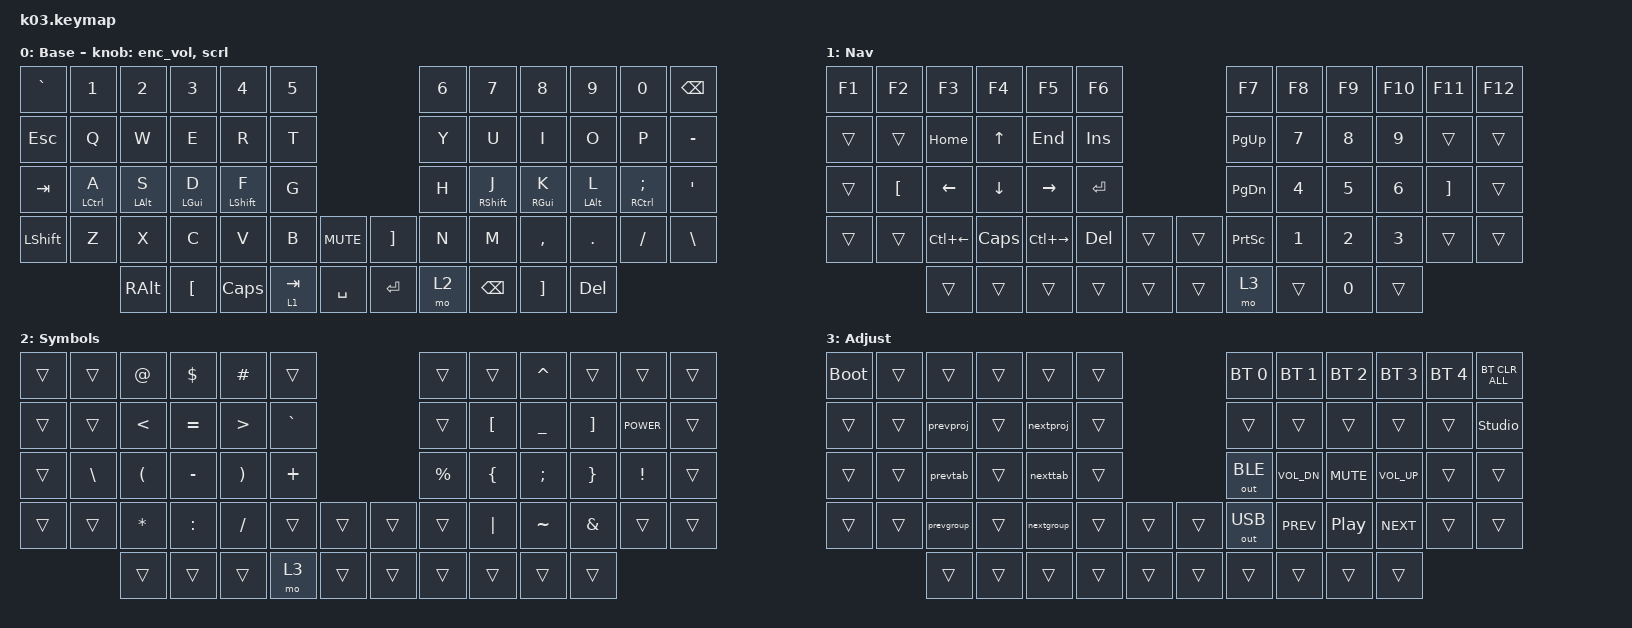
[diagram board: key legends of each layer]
#include "keys_ru.h"
#include <behaviors.dtsi>
#include <dt-bindings/zmk/bt.h>
#include <dt-bindings/zmk/keys.h>
#include <dt-bindings/zmk/outputs.h>

&mt {
    flavor = "balanced";
    quick-tap-ms = <200>;
    require-prior-idle-ms = <125>;
};

/ {
    behaviors {
        enc_vol: enc_vol {
            compatible = "zmk,behavior-sensor-rotate";
            label = "ENC_VOL";
            #sensor-binding-cells = <0>;
            bindings = <&kp C_VOL_UP>, <&kp C_VOL_DN>;
        };

        scrl: scrl {
            compatible = "zmk,behavior-sensor-rotate";
            label = "SCRL";
            #sensor-binding-cells = <0>;
            bindings = <&kp PG_UP>, <&kp PAGE_DOWN>;
        };

        windows: windows {
            compatible = "zmk,behavior-sensor-rotate";
            label = "WINDOWS";
            #sensor-binding-cells = <0>;
            bindings = <&kp TAB>, <&kp LEFT_SHIFT>;
        };

        tabs: tabs {
            compatible = "zmk,behavior-sensor-rotate";
            label = "TABS";
            #sensor-binding-cells = <0>;
            bindings = <&nexttab>, <&prevtab>;
        };

        groups: groups {
            compatible = "zmk,behavior-sensor-rotate";
            label = "GROUPS";
            #sensor-binding-cells = <0>;
            bindings = <&nextgroup>, <&prevgroup>;
        };
    };

    macros {
        nexttab: nexttab {
            compatible = "zmk,behavior-macro";
            #binding-cells = <0>;
            bindings =
                <&macro_press>,
                <&kp RCTRL>,
                <&macro_tap>,
                <&kp TAB>,
                <&macro_release>,
                <&kp RCTRL>;

            label = "NEXTTAB";
            wait-ms = <10>;
        };

        prevtab: prevtab {
            compatible = "zmk,behavior-macro";
            #binding-cells = <0>;
            bindings =
                <&macro_press>,
                <&kp RCTRL &kp LEFT_SHIFT>,
                <&macro_tap>,
                <&kp TAB>,
                <&macro_release>,
                <&kp RCTRL &kp LEFT_SHIFT>;

            label = "PREVTAB";
            wait-ms = <15>;
        };

        nextgroup: nextgroup {
            compatible = "zmk,behavior-macro";
            #binding-cells = <0>;
            bindings =
                <&macro_press>,
                <&kp LEFT_GUI &kp LEFT_ALT>,
                <&macro_tap>,
                <&kp DOWN_ARROW>,
                <&macro_release>,
                <&kp LEFT_GUI &kp LEFT_ALT>;

            label = "NEXTGROUP";
            wait-ms = <10>;
        };

        prevgroup: prevgroup {
            compatible = "zmk,behavior-macro";
            #binding-cells = <0>;
            bindings =
                <&macro_press>,
                <&kp LEFT_GUI &kp LEFT_ALT>,
                <&macro_tap>,
                <&kp UP_ARROW>,
                <&macro_release>,
                <&kp LEFT_GUI &kp LEFT_ALT>;

            label = "PREVGROUP";
            wait-ms = <10>;
        };

        nextproj: nextproj {
            compatible = "zmk,behavior-macro";
            #binding-cells = <0>;
            bindings =
                <&macro_press>,
                <&kp RCTRL &kp LEFT_ALT>,
                <&macro_tap>,
                <&kp TAB>,
                <&macro_release>,
                <&kp RCTRL &kp LEFT_ALT>;

            label = "NEXTPROJ";
            wait-ms = <10>;
        };

        prevproj: prevproj {
            compatible = "zmk,behavior-macro";
            #binding-cells = <0>;
            bindings =
                <&macro_press>,
                <&kp RCTRL &kp LEFT_ALT &kp LEFT_SHIFT>,
                <&macro_tap>,
                <&kp TAB>,
                <&macro_release>,
                <&kp RCTRL &kp LEFT_ALT &kp LEFT_SHIFT>;

            label = "PREVPROJ";
            wait-ms = <10>;
        };
    };

    combos {
        compatible = "zmk,combos";

        caps {
            bindings = <&caps_word>;
            key-positions = <25 34>;
        };
    };

    keymap {
        compatible = "zmk,keymap";

        base {
            bindings = <
&kp GRAVE  &kp N1       &kp N2          &kp N3            &kp N4            &kp N5                                      &kp N6  &kp N7             &kp N8             &kp N9          &kp N0          &kp BSPC
&kp ESC    &kp Q        &kp W           &kp E             &kp R             &kp T                                       &kp Y   &kp U              &kp I              &kp O           &kp P           &kp MINUS
&kp TAB    &mt LCTRL A  &mt LEFT_ALT S  &mt LEFT_GUI D    &mt LEFT_SHIFT F  &kp G                                       &kp H   &mt RIGHT_SHIFT J  &mt RGUI K         &mt LEFT_ALT L  &mt RCTRL SEMI  &kp SQT
&kp LSHFT  &kp Z        &kp X           &kp C             &kp V             &kp B      &kp K_MUTE    &kp RIGHT_BRACKET  &kp N   &kp M              &kp COMMA          &kp DOT         &kp FSLH        &kp BACKSLASH
                        &kp RIGHT_ALT   &kp LEFT_BRACKET  &kp CAPS          &lt 1 TAB  &kp SPACE     &kp ENTER          &mo 2   &kp BSPC           &kp RIGHT_BRACKET  &kp DELETE
            >;

            display-name = "Base";
            sensor-bindings = <&enc_vol>, <&scrl>;
        };

        nav {
            bindings = <
&kp F1  &kp F2            &kp F3        &kp F4    &kp F5         &kp F6                     &kp F7           &kp F8  &kp F9  &kp F10  &kp F11            &kp F12
&trans  &trans            &kp HOME      &kp UP    &kp END        &kp INS                    &kp PG_UP        &kp N7  &kp N8  &kp N9   &trans             &trans
&trans  &kp LEFT_BRACKET  &kp LEFT      &kp DOWN  &kp RIGHT      &kp RET                    &kp PG_DN        &kp N4  &kp N5  &kp N6   &kp RIGHT_BRACKET  &trans
&trans  &trans            &kp LC(LEFT)  &kp CAPS  &kp LC(RIGHT)  &kp DEL  &trans    &trans  &kp PRINTSCREEN  &kp N1  &kp N2  &kp N3   &trans             &trans
                          &trans        &trans    &trans         &trans   &trans    &trans  &mo 3            &trans  &kp N0  &trans
            >;

            display-name = "Nav";
        };

        sym {
            bindings = <
&trans  &trans    &kp AT    &kp DLLR   &kp HASH  &trans                       &trans     &trans    &kp CARET  &trans    &trans       &trans
&trans  &trans    &kp LT    &kp EQUAL  &kp GT    &kp GRAVE                    &trans     &kp LBKT  &kp UNDER  &kp RBKT  &kp C_POWER  &trans
&trans  &kp BSLH  &kp LPAR  &kp MINUS  &kp RPAR  &kp PLUS                     &kp PRCNT  &kp LBRC  &kp SEMI   &kp RBRC  &kp EXCL     &trans
&trans  &trans    &kp STAR  &kp COLON  &kp FSLH  &trans     &trans    &trans  &trans     &kp PIPE  &kp TILDE  &kp AMPS  &trans       &trans
                  &trans    &trans     &trans    &mo 3      &trans    &trans  &trans     &trans    &trans     &trans
            >;

            display-name = "Symbols";
        };

        adj {
            bindings = <
&bootloader  &trans  &trans      &trans  &trans      &trans                    &bt BT_SEL 0  &bt BT_SEL 1  &bt BT_SEL 2      &bt BT_SEL 3  &bt BT_SEL 4  &bt BT_CLR_ALL
&trans       &trans  &prevproj   &trans  &nextproj   &trans                    &trans        &trans        &trans            &trans        &trans        &studio_unlock
&trans       &trans  &prevtab    &trans  &nexttab    &trans                    &out OUT_BLE  &kp C_VOL_DN  &kp K_MUTE        &kp C_VOL_UP  &trans        &trans
&trans       &trans  &prevgroup  &trans  &nextgroup  &trans  &trans    &trans  &out OUT_USB  &kp C_PREV    &kp C_PLAY_PAUSE  &kp C_NEXT    &trans        &trans
                     &trans      &trans  &trans      &trans  &trans    &trans  &trans        &trans        &trans            &trans
            >;

            display-name = "Adjust";
        };
    };
};
